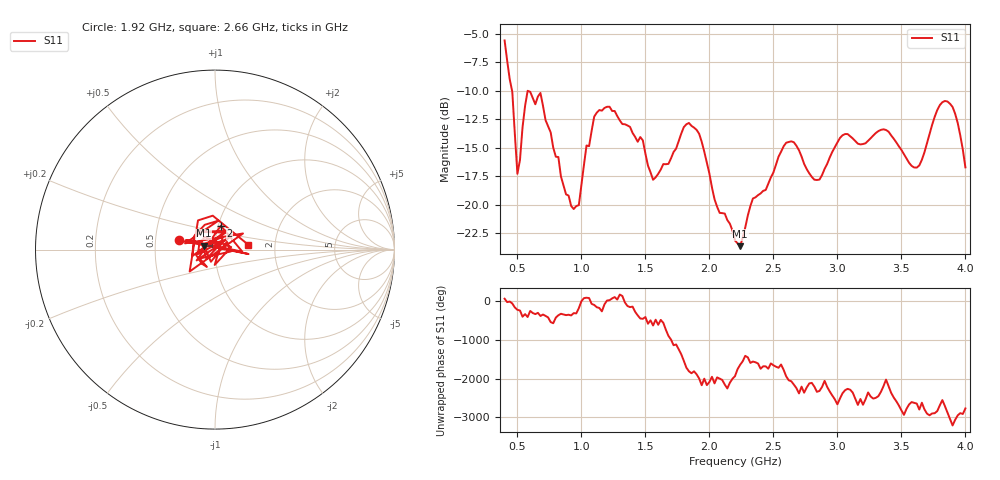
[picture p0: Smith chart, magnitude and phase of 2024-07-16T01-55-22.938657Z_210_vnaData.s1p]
!Created with skrf (http://scikit-rf.org).
# Hz S RI R 50.0
!freq ReS11 ImS11
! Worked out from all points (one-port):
!   181 points, 400 MHz to 4 GHz, reference 50 ohm
!   lowest |S11| = -23.6 dB at 2.24 GHz (marker M1), VSWR 1.14, Z = 44.1 + j1.96 ohm
!   |S11| at or under -10 dB: 458.2 MHz to end of sweep
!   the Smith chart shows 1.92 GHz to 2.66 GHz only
!   S11 on the Smith chart (normalised r, x): 1.92 GHz: 0.67, +0.07; 2 GHz: 1.03, +0.28; 2.66 GHz: 1.45, +0.08
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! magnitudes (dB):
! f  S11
! 400 MHz  -5.6
! 460 MHz  -10.1
! 500 MHz  -17.3
! 580 MHz  -10.0
! 680 MHz  -10.2
! 860 MHz  -18.3
! 980 MHz  -20.0
! 1.04 GHz  -14.8
! 1.1 GHz  -12.3
! 1.3 GHz  -12.6
! 1.48 GHz  -14.4
! 1.56 GHz  -17.8
! 1.76 GHz  -14.4
! 1.84 GHz  -12.8
! 1.92 GHz  -13.8
! 2 GHz  -17.3
! 2.2 GHz  -23.2
! 2.24 GHz  -23.6
! 2.34 GHz  -19.5
! 2.66 GHz  -14.5
! 2.84 GHz  -17.8
! 3.1 GHz  -14.0
! 3.38 GHz  -13.5
! 3.56 GHz  -16.3
! 3.64 GHz  -16.6
! 3.84 GHz  -10.9
! 3.92 GHz  -12.0
! 4 GHz  -16.7
